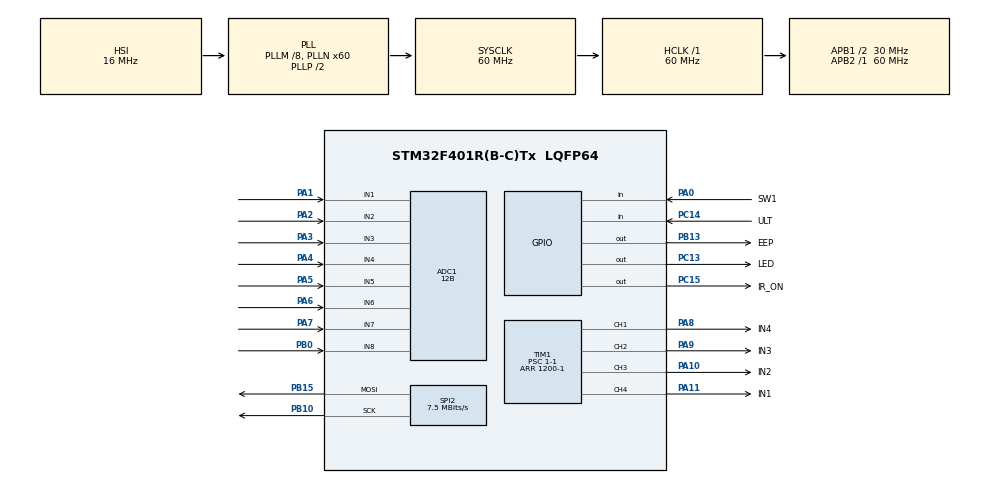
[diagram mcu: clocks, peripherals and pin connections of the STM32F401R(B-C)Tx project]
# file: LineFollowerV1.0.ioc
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ADC1.Channel-0\#ChannelRegularConversion=ADC_CHANNEL_1
ADC1.Channel-1\#ChannelRegularConversion=ADC_CHANNEL_2
ADC1.Channel-2\#ChannelRegularConversion=ADC_CHANNEL_3
ADC1.Channel-3\#ChannelRegularConversion=ADC_CHANNEL_4
ADC1.Channel-4\#ChannelRegularConversion=ADC_CHANNEL_5
ADC1.Channel-5\#ChannelRegularConversion=ADC_CHANNEL_6
ADC1.Channel-6\#ChannelRegularConversion=ADC_CHANNEL_7
ADC1.Channel-7\#ChannelRegularConversion=ADC_CHANNEL_8
ADC1.ClockPrescaler=ADC_CLOCK_SYNC_PCLK_DIV2
ADC1.DMAContinuousRequests=ENABLE
ADC1.DiscontinuousConvMode=ENABLE
ADC1.EOCSelection=ADC_EOC_SEQ_CONV
ADC1.NbrOfConversion=8
ADC1.NbrOfConversionFlag=1
ADC1.NbrOfDiscConversion=8
ADC1.Rank-0\#ChannelRegularConversion=1
ADC1.Rank-1\#ChannelRegularConversion=2
ADC1.Rank-2\#ChannelRegularConversion=3
ADC1.Rank-3\#ChannelRegularConversion=4
ADC1.Rank-4\#ChannelRegularConversion=5
ADC1.Rank-5\#ChannelRegularConversion=6
ADC1.Rank-6\#ChannelRegularConversion=7
ADC1.Rank-7\#ChannelRegularConversion=8
ADC1.Resolution=ADC_RESOLUTION_12B
ADC1.SamplingTime-0\#ChannelRegularConversion=ADC_SAMPLETIME_480CYCLES
ADC1.SamplingTime-1\#ChannelRegularConversion=ADC_SAMPLETIME_480CYCLES
ADC1.SamplingTime-2\#ChannelRegularConversion=ADC_SAMPLETIME_480CYCLES
ADC1.SamplingTime-3\#ChannelRegularConversion=ADC_SAMPLETIME_480CYCLES
ADC1.SamplingTime-4\#ChannelRegularConversion=ADC_SAMPLETIME_480CYCLES
ADC1.SamplingTime-5\#ChannelRegularConversion=ADC_SAMPLETIME_480CYCLES
ADC1.SamplingTime-6\#ChannelRegularConversion=ADC_SAMPLETIME_480CYCLES
ADC1.SamplingTime-7\#ChannelRegularConversion=ADC_SAMPLETIME_480CYCLES
ADC1.ScanConvMode=ENABLE
ADC1.master=1
Dma.ADC1.0.Direction=DMA_PERIPH_TO_MEMORY
Dma.ADC1.0.FIFOMode=DMA_FIFOMODE_DISABLE
Dma.ADC1.0.Instance=DMA2_Stream0
Dma.ADC1.0.MemDataAlignment=DMA_MDATAALIGN_HALFWORD
Dma.ADC1.0.MemInc=DMA_MINC_ENABLE
Dma.ADC1.0.Mode=DMA_CIRCULAR
Dma.ADC1.0.PeriphDataAlignment=DMA_PDATAALIGN_HALFWORD
Dma.ADC1.0.PeriphInc=DMA_PINC_DISABLE
Dma.ADC1.0.Priority=DMA_PRIORITY_MEDIUM
Dma.Request0=ADC1
Dma.Request1=SPI2_TX
Dma.SPI2_TX.1.Direction=DMA_MEMORY_TO_PERIPH
Dma.SPI2_TX.1.FIFOMode=DMA_FIFOMODE_DISABLE
Dma.SPI2_TX.1.Instance=DMA1_Stream4
Dma.SPI2_TX.1.MemDataAlignment=DMA_MDATAALIGN_BYTE
Dma.SPI2_TX.1.MemInc=DMA_MINC_ENABLE
Dma.SPI2_TX.1.Mode=DMA_NORMAL
Dma.SPI2_TX.1.PeriphDataAlignment=DMA_PDATAALIGN_BYTE
Dma.SPI2_TX.1.PeriphInc=DMA_PINC_DISABLE
Dma.SPI2_TX.1.Priority=DMA_PRIORITY_LOW
Mcu.Family=STM32F4
Mcu.Name=STM32F401R(B-C)Tx
Mcu.Package=LQFP64
NVIC.ADC_IRQn=true\:0\:0\:false\:false\:true\:true\:true\:true
NVIC.DMA1_Stream4_IRQn=true\:0\:0\:false\:false\:true\:false\:true\:true
NVIC.DMA2_Stream0_IRQn=true\:0\:0\:false\:false\:true\:false\:true\:true
NVIC.PriorityGroup=NVIC_PRIORITYGROUP_4
NVIC.SPI2_IRQn=true\:0\:0\:false\:false\:true\:true\:true\:true
PA0-WKUP.GPIO_Label=SW1
PA0-WKUP.GPIO_PuPd=GPIO_PULLUP
PA0-WKUP.Signal=GPIO_Input
PA1.Signal=ADCx_IN1
PA10.GPIO_Label=IN2
PA10.Signal=S_TIM1_CH3
PA11.GPIO_Label=IN1
PA11.Signal=S_TIM1_CH4
PA13.Mode=Trace_Asynchronous_SW
PA13.Signal=SYS_JTMS-SWDIO
PA14.Mode=Trace_Asynchronous_SW
PA14.Signal=SYS_JTCK-SWCLK
PA2.Signal=ADCx_IN2
PA3.Signal=ADCx_IN3
PA4.Signal=ADCx_IN4
PA5.Signal=ADCx_IN5
PA6.Signal=ADCx_IN6
PA7.Signal=ADCx_IN7
PA8.GPIO_Label=IN4
PA8.Signal=S_TIM1_CH1
PA9.GPIO_Label=IN3
PA9.Signal=S_TIM1_CH2
PB0.Signal=ADCx_IN8
PB10.Mode=TX_Only_Simplex_Unidirect_Master
PB10.Signal=SPI2_SCK
PB13.GPIO_Label=EEP
PB13.Signal=GPIO_Output
PB15.Mode=TX_Only_Simplex_Unidirect_Master
PB15.Signal=SPI2_MOSI
PB3.Mode=Trace_Asynchronous_SW
PB3.Signal=SYS_JTDO-SWO
PC13-ANTI_TAMP.GPIO_Label=LED
PC13-ANTI_TAMP.PinState=GPIO_PIN_SET
PC13-ANTI_TAMP.Signal=GPIO_Output
PC14-OSC32_IN.GPIO_Label=ULT
PC14-OSC32_IN.Signal=GPIO_Input
PC15-OSC32_OUT.GPIO_Label=IR_ON
PC15-OSC32_OUT.Signal=GPIO_Output
PH0\ -\ OSC_IN.Mode=HSE-External-Oscillator
PH0\ -\ OSC_IN.Signal=RCC_OSC_IN
PH1\ -\ OSC_OUT.Mode=HSE-External-Oscillator
PH1\ -\ OSC_OUT.Signal=RCC_OSC_OUT
ProjectManager.HeapSize=0x200
ProjectManager.StackSize=0x400
ProjectManager.TargetToolchain=STM32CubeIDE
RCC.48MHZClocksFreq_Value=30000000
RCC.AHBFreq_Value=60000000
RCC.APB1CLKDivider=RCC_HCLK_DIV2
RCC.APB1Freq_Value=30000000
RCC.APB1TimFreq_Value=60000000
RCC.APB2Freq_Value=60000000
RCC.APB2TimFreq_Value=60000000
RCC.CortexFreq_Value=60000000
RCC.HCLKFreq_Value=60000000
RCC.HSE_VALUE=25000000
RCC.HSI_VALUE=16000000
RCC.LSE_VALUE=32768
RCC.PLLM=8
RCC.PLLN=60
RCC.SYSCLKFreq_VALUE=60000000
RCC.SYSCLKSource=RCC_SYSCLKSOURCE_PLLCLK
RCC.VCOOutputFreq_Value=120000000
SH.ADCx_IN1.0=ADC1_IN1,IN1
SH.ADCx_IN2.0=ADC1_IN2,IN2
SH.ADCx_IN3.0=ADC1_IN3,IN3
SH.ADCx_IN4.0=ADC1_IN4,IN4
SH.ADCx_IN5.0=ADC1_IN5,IN5
SH.ADCx_IN6.0=ADC1_IN6,IN6
SH.ADCx_IN7.0=ADC1_IN7,IN7
SH.ADCx_IN8.0=ADC1_IN8,IN8
SH.S_TIM1_CH1.0=TIM1_CH1,PWM Generation1 CH1
SH.S_TIM1_CH2.0=TIM1_CH2,PWM Generation2 CH2
SH.S_TIM1_CH3.0=TIM1_CH3,PWM Generation3 CH3
SH.S_TIM1_CH4.0=TIM1_CH4,PWM Generation4 CH4
SPI2.BaudRatePrescaler=SPI_BAUDRATEPRESCALER_4
SPI2.CalculateBaudRate=7.5 MBits/s
SPI2.Direction=SPI_DIRECTION_2LINES
SPI2.Mode=SPI_MODE_MASTER
SPI2.VirtualType=VM_MASTER
TIM1.AutoReloadPreload=TIM_AUTORELOAD_PRELOAD_ENABLE
TIM1.Channel-PWM\ Generation1\ CH1=TIM_CHANNEL_1
TIM1.Channel-PWM\ Generation2\ CH2=TIM_CHANNEL_2
TIM1.Channel-PWM\ Generation3\ CH3=TIM_CHANNEL_3
TIM1.Channel-PWM\ Generation4\ CH4=TIM_CHANNEL_4
TIM1.Period=1200-1
TIM1.Prescaler=1-1
VP_TIM1_VS_ClockSourceINT.Mode=Internal
VP_TIM2_VS_ClockSourceINT.Mode=Internal
board=custom

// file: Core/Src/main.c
/* USER CODE BEGIN Header */
/**
 ******************************************************************************
 * @file           : main.c
 * @brief          : Main program body
 ******************************************************************************
 * @attention
 *
 * Copyright (c) 2025 STMicroelectronics.
 * All rights reserved.
 *
 * This software is licensed under terms that can be found in the LICENSE file
 * in the root directory of this software component.
 * If no LICENSE file comes with this software, it is provided AS-IS.
 *
 ******************************************************************************
 */
/* USER CODE END Header */
#include "main.h"

/* USER CODE BEGIN Includes */
#include "stm32f4xx_hal_flash.h"
#include "stm32f4xx_hal_flash_ex.h"
#include <string.h>
/* USER CODE END Includes */

/* USER CODE BEGIN PD */
#define TRUE 					1
#define FALSE 					0
/* DC MOTORS Private define */
#define SET_SPEED 				1050
#define MIN_SPEED 				700
#define MAX_SPEED 				1200
#define ROTATION_SPEED 			850
#define PID_KP 					30
#define PID_KD 					50
#define PID_ERROR_SETPOINT 		9
#define CONSTRAIN(x, min, max) ((x) < (min) ? (min) : ((x) > (max) ? (max) : (x)))
/* ADC Private define */
#define ADCREADTIMES 			2
#define SECTOR5ADDRESS 			0x08020000
/* NeoPixel Private define */
#define NUM_PIXELS 				8
#define PIXEL_BYTES 			3  // RGB
#define TOTAL_BYTES (NUM_PIXELS * PIXEL_BYTES * 8)
#define RESET_BYTES 			50  // Reset pulse (>50μs)
#define CODE0 					0b11100000
#define CODE1 					0b11111000

/* USER CODE END PD */

ADC_HandleTypeDef hadc1;
DMA_HandleTypeDef hdma_adc1;

SPI_HandleTypeDef hspi2;
DMA_HandleTypeDef hdma_spi2_tx;

TIM_HandleTypeDef htim1;
TIM_HandleTypeDef htim2;

/* USER CODE BEGIN PV */
/* States of State machine variable */
volatile typedef enum
{
	LINEFOLLOWER_STARTUP,
	LINEFOLLOWER_READY,
	LINEFOLLOWER_CALBRATION,
	LINEFOLLOWER_RUN
}LineFollowerState_t;
LineFollowerState_t LineFollowerState= LINEFOLLOWER_STARTUP;
/* IR sensor variables and ADC*/
volatile uint16_t IR_buff[4][8]={0};
volatile uint8_t IR_Readed = FALSE;
volatile uint8_t IR_DigValue = 0;
volatile uint8_t previousIR_DigValue = 0;
volatile uint8_t ADCReadTimes= ADCREADTIMES;
volatile uint8_t PID_Error_g8 =0;
volatile uint8_t lastPID_Error_g8 =0;
volatile uint8_t lostCounter =0;
/* User button variables */
volatile uint64_t pressTime=0;
/* PWM speed variables */
volatile int16_t speedCorrection = 0;

/* Neopixel variables */
volatile uint8_t NeoPixel_TXCplt = FALSE;
uint8_t spi_buffer[TOTAL_BYTES + RESET_BYTES]={0};
static const uint8_t blueColor5[24]=
		{CODE0,CODE0,CODE0,CODE0,CODE0,CODE0,CODE0,CODE0
		,CODE0,CODE0,CODE0,CODE0,CODE0,CODE0,CODE0,CODE0
		,CODE0,CODE0,CODE0,CODE0,CODE0,CODE0,CODE0,CODE1}; //0b0000001 1U
static const uint8_t redColor5[24]=
		{CODE0,CODE0,CODE0,CODE0,CODE0,CODE0,CODE0,CODE0
		,CODE0,CODE0,CODE0,CODE0,CODE0,CODE0,CODE0,CODE1
		,CODE0,CODE0,CODE0,CODE0,CODE0,CODE0,CODE0,CODE0}; //0b0000001 128U
static const uint8_t offColor[24]=
		{CODE0,CODE0,CODE0,CODE0,CODE0,CODE0,CODE0,CODE0
		,CODE0,CODE0,CODE0,CODE0,CODE0,CODE0,CODE0,CODE0
		,CODE0,CODE0,CODE0,CODE0,CODE0,CODE0,CODE0,CODE0}; //0b00000000
/* USER CODE END PV */

void SystemClock_Config(void);
static void MX_GPIO_Init(void);
static void MX_DMA_Init(void);
static void MX_ADC1_Init(void);
static void MX_SPI2_Init(void);
static void MX_TIM2_Init(void);
static void MX_TIM1_Init(void);
/* USER CODE BEGIN PFP */
static inline void Forwrad(uint16_t RSpeed,uint16_t LSpeed);
uint32_t Flash_Write_Data (uint32_t StartSectorAddress, volatile uint16_t *Data);
void NeoPixel_ShowBlue(uint8_t bluePixels);
void NeoPixel_ShowRed(uint8_t redPixels);
static inline void Right();
static inline void Left();
/* USER CODE END PFP */

/* USER CODE BEGIN 0 */
static inline void Forwrad(uint16_t RSpeed,uint16_t LSpeed)
{

		TIM1->CCR1 = 0;
		TIM1->CCR3 = 0;
		TIM1->CCR2 = RSpeed;
		TIM1->CCR4 = LSpeed;
}
static inline void Left()
{

		TIM1->CCR1 = 0;
		TIM1->CCR3 = ROTATION_SPEED;
		TIM1->CCR2 = MAX_SPEED;
		TIM1->CCR4 = 0;
}
static inline void Right()
{

		TIM1->CCR1 = ROTATION_SPEED;
		TIM1->CCR3 = 0;
		TIM1->CCR2 = 0;
		TIM1->CCR4 = MAX_SPEED;
}
void LineFollowerCalibration(void)
{
	uint16_t i=0;
	//Set maximum ADC value @min IR vector to get the minimum IR values
	IR_buff[2][0]= 4095;
	IR_buff[2][1]= 4095;
	IR_buff[2][2]= 4095;
	IR_buff[2][3]= 4095;
	IR_buff[2][4]= 4095;
	IR_buff[2][5]= 4095;
	IR_buff[2][6]= 4095;
	IR_buff[2][7]= 4095;

	//Start the calibration process to get the minimum and maximum ADC readings
	for(i =0 ;i<65535; i++)
	{
		IR_Readed = FALSE;
		HAL_ADC_Start_DMA(&hadc1, (uint32_t*)IR_buff, 8);
		while(IR_Readed != TRUE);
		//Get the maximum ADC values
		IR_buff[1][0]= (IR_buff[0][0]>IR_buff[1][0])? IR_buff[0][0] : IR_buff[1][0];
		IR_buff[1][1]= (IR_buff[0][1]>IR_buff[1][1])? IR_buff[0][1] : IR_buff[1][1];
		IR_buff[1][2]= (IR_buff[0][2]>IR_buff[1][2])? IR_buff[0][2] : IR_buff[1][2];
		IR_buff[1][3]= (IR_buff[0][3]>IR_buff[1][3])? IR_buff[0][3] : IR_buff[1][3];
		IR_buff[1][4]= (IR_buff[0][4]>IR_buff[1][4])? IR_buff[0][4] : IR_buff[1][4];
		IR_buff[1][5]= (IR_buff[0][5]>IR_buff[1][5])? IR_buff[0][5] : IR_buff[1][5];
		IR_buff[1][6]= (IR_buff[0][6]>IR_buff[1][6])? IR_buff[0][6] : IR_buff[1][6];
		IR_buff[1][7]= (IR_buff[0][7]>IR_buff[1][7])? IR_buff[0][7] : IR_buff[1][7];
		//Get the minimum ADC values
		IR_buff[2][0]= (IR_buff[0][0]<IR_buff[2][0])? IR_buff[0][0] : IR_buff[2][0];
		IR_buff[2][1]= (IR_buff[0][1]<IR_buff[2][1])? IR_buff[0][1] : IR_buff[2][1];
		IR_buff[2][2]= (IR_buff[0][2]<IR_buff[2][2])? IR_buff[0][2] : IR_buff[2][2];
		IR_buff[2][3]= (IR_buff[0][3]<IR_buff[2][3])? IR_buff[0][3] : IR_buff[2][3];
		IR_buff[2][4]= (IR_buff[0][4]<IR_buff[2][4])? IR_buff[0][4] : IR_buff[2][4];
		IR_buff[2][5]= (IR_buff[0][5]<IR_buff[2][5])? IR_buff[0][5] : IR_buff[2][5];
		IR_buff[2][6]= (IR_buff[0][6]<IR_buff[2][6])? IR_buff[0][6] : IR_buff[2][6];
		IR_buff[2][7]= (IR_buff[0][7]<IR_buff[2][7])? IR_buff[0][7] : IR_buff[2][7];
	}
	//Averaging the minimum & maximum ADC values to ge the threshold value of every IR sensor
	IR_buff[3][0]= IR_buff[2][0]+(IR_buff[1][0]-IR_buff[2][0])/2;
	IR_buff[3][1]= IR_buff[2][1]+(IR_buff[1][1]-IR_buff[2][1])/2;
	IR_buff[3][2]= IR_buff[2][2]+(IR_buff[1][2]-IR_buff[2][2])/2;
	IR_buff[3][3]= IR_buff[2][3]+(IR_buff[1][3]-IR_buff[2][3])/2;
	IR_buff[3][4]= IR_buff[2][4]+(IR_buff[1][4]-IR_buff[2][4])/2;
	IR_buff[3][5]= IR_buff[2][5]+(IR_buff[1][5]-IR_buff[2][5])/2;
	IR_buff[3][6]= IR_buff[2][6]+(IR_buff[1][6]-IR_buff[2][6])/2;
	IR_buff[3][7]= IR_buff[2][7]+(IR_buff[1][7]-IR_buff[2][7])/2;
	//Save the Calibration in flash at sector 5
	Flash_Write_Data(SECTOR5ADDRESS,&IR_buff[3][0]);
	Forwrad(0,0);
	////Turn on Blue LED at the end of calibration for 500ms
	HAL_GPIO_WritePin(LED_GPIO_Port, LED_Pin,0);
	HAL_Delay(500);
	HAL_GPIO_WritePin(LED_GPIO_Port, LED_Pin,1);
}

uint32_t Flash_Write_Data (uint32_t StartSectorAddress, volatile uint16_t *Data)
{

	int sofar=0;
	/* Unlock the Flash to enable the flash control register access *************/
	HAL_FLASH_Unlock();
	/* Erase the user Flash area */
	FLASH_Erase_Sector(5U, FLASH_VOLTAGE_RANGE_3);

	/* Program the user Flash area word by word
	    (area defined by FLASH_USER_START_ADDR and FLASH_USER_END_ADDR) ***********/
	while (sofar<8)
	{
		if (HAL_FLASH_Program(FLASH_TYPEPROGRAM_HALFWORD, StartSectorAddress, Data[sofar]) == HAL_OK)
		{
			StartSectorAddress += 2;  // use StartPageAddress += 2 for half word and 8 for double word
			sofar++;
		}
		else
		{
			/* Error occurred while writing data in Flash memory*/
			return HAL_FLASH_GetError ();
		}
	}

	/* Lock the Flash to disable the flash control register access (recommended
	     to protect the FLASH memory against possible unwanted operation) *********/
	HAL_FLASH_Lock();

	return 0;
}
void Flash_Read_Data (uint32_t StartSectorAddress,volatile uint16_t *RxBuf, uint16_t numberofwords)
{
	while (1)
	{
		*RxBuf = *(__IO uint16_t *)StartSectorAddress;
		StartSectorAddress += 2;
		RxBuf++;
		if (!(numberofwords--)) break;
	}
}
/* USER CODE END 0 */

int main(void)
{

  /* MCU Configuration--------------------------------------------------------*/

  /* Reset of all peripherals, Initializes the Flash interface and the Systick. */
  HAL_Init();

  /* Configure the system clock */
  SystemClock_Config();

  /* Initialize all configured peripherals */
  MX_GPIO_Init();
  MX_DMA_Init();
  MX_ADC1_Init();
  MX_SPI2_Init();
  MX_TIM2_Init();
  MX_TIM1_Init();
  /* USER CODE BEGIN 2 */
uint8_t i_l8=0;
uint8_t sum_l8=0;

  /* USER CODE END 2 */

  /* Infinite loop */
  /* USER CODE BEGIN WHILE */
	while (1)
	{
		switch(LineFollowerState)
		{
		case LINEFOLLOWER_STARTUP:
			//Turn off IR Sensor
			HAL_GPIO_WritePin(IR_ON_GPIO_Port, IR_ON_Pin,0);
			//Turn off Neopixel
			NeoPixel_ShowBlue(0);
			//Entering the Motor deriver in Low power mode
			HAL_GPIO_WritePin(EEP_GPIO_Port, EEP_Pin, 0);
			//Read stored calibration values from flash memory
			Flash_Read_Data (SECTOR5ADDRESS, &IR_buff[3][0], 8);
			//Waiting as Idle for SW1 pressed
			while(HAL_GPIO_ReadPin(SW1_GPIO_Port, SW1_Pin));
			HAL_Delay(500); //Delay for software switch debouncing
			//Move to Ready State
			LineFollowerState= LINEFOLLOWER_READY;
			//Turn on IR Sensor
			HAL_GPIO_WritePin(IR_ON_GPIO_Port, IR_ON_Pin,1);
			break;

		case  LINEFOLLOWER_READY:
			if(HAL_GPIO_ReadPin(SW1_GPIO_Port, SW1_Pin) == 0)
			{
				HAL_Delay(300);
				//Set Calibration time threshold to 3Sec
				pressTime =HAL_GetTick()+3000;
				//Waiting SW1 release
				while(HAL_GPIO_ReadPin(SW1_GPIO_Port, SW1_Pin) == 0)
				{
					//Make BLUE LED as Calibration time threshold indicator
					(pressTime < HAL_GetTick())? HAL_GPIO_WritePin(LED_GPIO_Port, LED_Pin,0) : NULL;
				}

				if(pressTime < HAL_GetTick())
				{
					LineFollowerState= LINEFOLLOWER_CALBRATION;
				}
				else
				{
					//Start PWM for DC Motors
					HAL_TIM_PWM_Start(&htim1, TIM_CHANNEL_1);
					HAL_TIM_PWM_Start(&htim1, TIM_CHANNEL_2);
					HAL_TIM_PWM_Start(&htim1, TIM_CHANNEL_3);
					HAL_TIM_PWM_Start(&htim1, TIM_CHANNEL_4);
					//Exit the Motor deriver from Low power mode
					HAL_GPIO_WritePin(EEP_GPIO_Port, EEP_Pin, 1);
					LineFollowerState= LINEFOLLOWER_RUN;
				}

			}
			else
			{
				//Show the Line position on Neopixel every 10mSec
				HAL_ADC_Start_DMA(&hadc1, (uint32_t*)IR_buff, 8);
				while(IR_Readed != TRUE);
				IR_DigValue = ((IR_buff[0][0]>IR_buff[3][0])<<7)|((IR_buff[0][1]>IR_buff[3][1])<<6)|((IR_buff[0][2]>IR_buff[3][2])<<5)|((IR_buff[0][3]>IR_buff[3][3])<<4)|((IR_buff[0][4]>IR_buff[3][4])<<3)|((IR_buff[0][5]>IR_buff[3][5])<<2)|((IR_buff[0][6]>IR_buff[3][6])<<1)|(IR_buff[0][7]>IR_buff[3][7]);
				(NeoPixel_TXCplt == FALSE)? (NeoPixel_ShowRed(IR_DigValue)): NULL;
				HAL_Delay(10);
			}
			break;

		case LINEFOLLOWER_CALBRATION:
			//Turn on Blue Light on Neopixel
			NeoPixel_ShowBlue(0b11111111);
			//Implement calibration process
			LineFollowerCalibration();
			//Turn off Blue Light
			NeoPixel_ShowBlue(0b00000000);
			//Return to Ready State
			LineFollowerState= LINEFOLLOWER_READY;
			break;

		case LINEFOLLOWER_RUN:
			//Start IR sensor Read using DMA
			HAL_ADC_Start_DMA(&hadc1, (uint32_t*)IR_buff, 8);
			//Waiting ADC finish
			while(IR_Readed != TRUE);
			//Convert the IR Sensor ADC readed value to digital values
			IR_DigValue = ((IR_buff[0][0]>IR_buff[3][0])<<7)|((IR_buff[0][1]>IR_buff[3][1])<<6)|((IR_buff[0][2]>IR_buff[3][2])<<5)|((IR_buff[0][3]>IR_buff[3][3])<<4)|((IR_buff[0][4]>IR_buff[3][4])<<3)|((IR_buff[0][5]>IR_buff[3][5])<<2)|((IR_buff[0][6]>IR_buff[3][6])<<1)|(IR_buff[0][7]>IR_buff[3][7]);
			//Validate the IR Sensor Value
			if((IR_DigValue!=0) && (IR_DigValue!=255) && (IR_DigValue == previousIR_DigValue) && ((IR_DigValue&(IR_DigValue+(IR_DigValue&-IR_DigValue)))==0))
			{
				//Waiting ADCReadTimes finish
				if(ADCReadTimes == 0)
				{
					switch(IR_DigValue)
					{
					case 0b00000001:
					case 0b00000011:
						//Rotate Left
						Left();
						lastPID_Error_g8 =2;
						break;
					case 0b10000000:
					case 0b11000000:
						//Rotate Right
						Right();
						lastPID_Error_g8 =16;
						break;
					default:
						for(i_l8=0,sum_l8=0 ; i_l8<8 ; i_l8++)
						{
							//Implement summation with weight 2
						    (IR_DigValue & 1<<i_l8)?(sum_l8+=(i_l8+1)*2): 0;
						}
						//Calculate PID Error value and correction value
						PID_Error_g8 = sum_l8/__builtin_popcount(IR_DigValue);
						speedCorrection= PID_KP * (PID_Error_g8-PID_ERROR_SETPOINT)+ PID_KD*(PID_Error_g8 - lastPID_Error_g8);
						//Go forward with calculated speed values and Speed constrains
						Forwrad(CONSTRAIN((SET_SPEED-speedCorrection),MIN_SPEED,MAX_SPEED),CONSTRAIN((SET_SPEED+speedCorrection),MIN_SPEED,MAX_SPEED));
					break;
					}
					//Show the Line position on Neopixel
					(NeoPixel_TXCplt == FALSE)? (NeoPixel_ShowRed(IR_DigValue)): NULL;
					//Reload the ADCReadTimes
					ADCReadTimes = ADCREADTIMES;
					//Save last PID error value
					lastPID_Error_g8 =PID_Error_g8;
				}
				//LOST
				else if(IR_DigValue==0)
				{
					if((lastPID_Error_g8 - PID_ERROR_SETPOINT>0))
					{
						//Rotate Right
						Right();
						lastPID_Error_g8 =16;
					}
					else if((lastPID_Error_g8 - PID_ERROR_SETPOINT<0))
					{
						//Rotate Left
						Left();
						lastPID_Error_g8 =2;
					}
				}
				else
				{
					ADCReadTimes--;
				}

			}
			else
			{
				previousIR_DigValue =IR_DigValue;
				ADCReadTimes = ADCREADTIMES;
			}

			HAL_Delay(1);
			break;
		}
    /* USER CODE END WHILE */

	}
}

void SystemClock_Config(void)
{
  RCC_OscInitTypeDef RCC_OscInitStruct = {0};
  RCC_ClkInitTypeDef RCC_ClkInitStruct = {0};

  /** Configure the main internal regulator output voltage
  */
  __HAL_RCC_PWR_CLK_ENABLE();
  __HAL_PWR_VOLTAGESCALING_CONFIG(PWR_REGULATOR_VOLTAGE_SCALE2);

  /** Initializes the RCC Oscillators according to the specified parameters
  * in the RCC_OscInitTypeDef structure.
  */
  RCC_OscInitStruct.OscillatorType = RCC_OSCILLATORTYPE_HSI;
  RCC_OscInitStruct.HSIState = RCC_HSI_ON;
  RCC_OscInitStruct.HSICalibrationValue = RCC_HSICALIBRATION_DEFAULT;
  RCC_OscInitStruct.PLL.PLLState = RCC_PLL_ON;
  RCC_OscInitStruct.PLL.PLLSource = RCC_PLLSOURCE_HSI;
  RCC_OscInitStruct.PLL.PLLM = 8;
  RCC_OscInitStruct.PLL.PLLN = 60;
  RCC_OscInitStruct.PLL.PLLP = RCC_PLLP_DIV2;
  RCC_OscInitStruct.PLL.PLLQ = 4;
  if (HAL_RCC_OscConfig(&RCC_OscInitStruct) != HAL_OK)
  {
    Error_Handler();
  }

  /** Initializes the CPU, AHB and APB buses clocks
  */
  RCC_ClkInitStruct.ClockType = RCC_CLOCKTYPE_HCLK|RCC_CLOCKTYPE_SYSCLK
                              |RCC_CLOCKTYPE_PCLK1|RCC_CLOCKTYPE_PCLK2;
  RCC_ClkInitStruct.SYSCLKSource = RCC_SYSCLKSOURCE_PLLCLK;
  RCC_ClkInitStruct.AHBCLKDivider = RCC_SYSCLK_DIV1;
  RCC_ClkInitStruct.APB1CLKDivider = RCC_HCLK_DIV2;
  RCC_ClkInitStruct.APB2CLKDivider = RCC_HCLK_DIV1;

  if (HAL_RCC_ClockConfig(&RCC_ClkInitStruct, FLASH_LATENCY_1) != HAL_OK)
  {
    Error_Handler();
  }
}

static void MX_ADC1_Init(void)
{

  ADC_ChannelConfTypeDef sConfig = {0};

  /** Configure the global features of the ADC (Clock, Resolution, Data Alignment and number of conversion)
  */
  hadc1.Instance = ADC1;
  hadc1.Init.ClockPrescaler = ADC_CLOCK_SYNC_PCLK_DIV2;
  hadc1.Init.Resolution = ADC_RESOLUTION_12B;
  hadc1.Init.ScanConvMode = ENABLE;
  hadc1.Init.ContinuousConvMode = DISABLE;
  hadc1.Init.DiscontinuousConvMode = ENABLE;
  hadc1.Init.NbrOfDiscConversion = 8;
  hadc1.Init.ExternalTrigConvEdge = ADC_EXTERNALTRIGCONVEDGE_NONE;
  hadc1.Init.ExternalTrigConv = ADC_SOFTWARE_START;
  hadc1.Init.DataAlign = ADC_DATAALIGN_RIGHT;
  hadc1.Init.NbrOfConversion = 8;
  hadc1.Init.DMAContinuousRequests = ENABLE;
  hadc1.Init.EOCSelection = ADC_EOC_SEQ_CONV;
  if (HAL_ADC_Init(&hadc1) != HAL_OK)
  {
    Error_Handler();
  }

  /** Configure for the selected ADC regular channel its corresponding rank in the sequencer and its sample time.
  */
  sConfig.Channel = ADC_CHANNEL_1;
  sConfig.Rank = 1;
  sConfig.SamplingTime = ADC_SAMPLETIME_480CYCLES;
  if (HAL_ADC_ConfigChannel(&hadc1, &sConfig) != HAL_OK)
  {
    Error_Handler();
  }

  /** Configure for the selected ADC regular channel its corresponding rank in the sequencer and its sample time.
  */
  sConfig.Channel = ADC_CHANNEL_2;
  sConfig.Rank = 2;
  if (HAL_ADC_ConfigChannel(&hadc1, &sConfig) != HAL_OK)
  {
    Error_Handler();
  }

  /** Configure for the selected ADC regular channel its corresponding rank in the sequencer and its sample time.
  */
  sConfig.Channel = ADC_CHANNEL_3;
  sConfig.Rank = 3;
  if (HAL_ADC_ConfigChannel(&hadc1, &sConfig) != HAL_OK)
  {
    Error_Handler();
  }

  /** Configure for the selected ADC regular channel its corresponding rank in the sequencer and its sample time.
  */
  sConfig.Channel = ADC_CHANNEL_4;
  sConfig.Rank = 4;
  if (HAL_ADC_ConfigChannel(&hadc1, &sConfig) != HAL_OK)
  {
    Error_Handler();
  }

  /** Configure for the selected ADC regular channel its corresponding rank in the sequencer and its sample time.
  */
  sConfig.Channel = ADC_CHANNEL_5;
  sConfig.Rank = 5;
  if (HAL_ADC_ConfigChannel(&hadc1, &sConfig) != HAL_OK)
  {
    Error_Handler();
  }

  /** Configure for the selected ADC regular channel its corresponding rank in the sequencer and its sample time.
  */
  sConfig.Channel = ADC_CHANNEL_6;
  sConfig.Rank = 6;
  if (HAL_ADC_ConfigChannel(&hadc1, &sConfig) != HAL_OK)
  {
    Error_Handler();
  }

  /** Configure for the selected ADC regular channel its corresponding rank in the sequencer and its sample time.
  */
  sConfig.Channel = ADC_CHANNEL_7;
  sConfig.Rank = 7;
  if (HAL_ADC_ConfigChannel(&hadc1, &sConfig) != HAL_OK)
  {
    Error_Handler();
  }

  /** Configure for the selected ADC regular channel its corresponding rank in the sequencer and its sample time.
  */
  sConfig.Channel = ADC_CHANNEL_8;
  sConfig.Rank = 8;
  if (HAL_ADC_ConfigChannel(&hadc1, &sConfig) != HAL_OK)
  {
    Error_Handler();
  }

}

static void MX_SPI2_Init(void)
{

  /* SPI2 parameter configuration*/
  hspi2.Instance = SPI2;
  hspi2.Init.Mode = SPI_MODE_MASTER;
  hspi2.Init.Direction = SPI_DIRECTION_2LINES;
  hspi2.Init.DataSize = SPI_DATASIZE_8BIT;
  hspi2.Init.CLKPolarity = SPI_POLARITY_LOW;
  hspi2.Init.CLKPhase = SPI_PHASE_1EDGE;
  hspi2.Init.NSS = SPI_NSS_SOFT;
  hspi2.Init.BaudRatePrescaler = SPI_BAUDRATEPRESCALER_4;
  hspi2.Init.FirstBit = SPI_FIRSTBIT_MSB;
  hspi2.Init.TIMode = SPI_TIMODE_DISABLE;
  hspi2.Init.CRCCalculation = SPI_CRCCALCULATION_DISABLE;
  hspi2.Init.CRCPolynomial = 10;
  if (HAL_SPI_Init(&hspi2) != HAL_OK)
  {
    Error_Handler();
  }

}

static void MX_TIM1_Init(void)
{

  TIM_ClockConfigTypeDef sClockSourceConfig = {0};
  TIM_MasterConfigTypeDef sMasterConfig = {0};
  TIM_OC_InitTypeDef sConfigOC = {0};
  TIM_BreakDeadTimeConfigTypeDef sBreakDeadTimeConfig = {0};

  htim1.Instance = TIM1;
  htim1.Init.Prescaler = 1-1;
  htim1.Init.CounterMode = TIM_COUNTERMODE_UP;
  htim1.Init.Period = 1200-1;
  htim1.Init.ClockDivision = TIM_CLOCKDIVISION_DIV1;
  htim1.Init.RepetitionCounter = 0;
  htim1.Init.AutoReloadPreload = TIM_AUTORELOAD_PRELOAD_ENABLE;
  if (HAL_TIM_Base_Init(&htim1) != HAL_OK)
  {
    Error_Handler();
  }
  sClockSourceConfig.ClockSource = TIM_CLOCKSOURCE_INTERNAL;
  if (HAL_TIM_ConfigClockSource(&htim1, &sClockSourceConfig) != HAL_OK)
  {
    Error_Handler();
  }
  if (HAL_TIM_PWM_Init(&htim1) != HAL_OK)
  {
    Error_Handler();
  }
  sMasterConfig.MasterOutputTrigger = TIM_TRGO_RESET;
  sMasterConfig.MasterSlaveMode = TIM_MASTERSLAVEMODE_DISABLE;
  if (HAL_TIMEx_MasterConfigSynchronization(&htim1, &sMasterConfig) != HAL_OK)
  {
    Error_Handler();
  }
  sConfigOC.OCMode = TIM_OCMODE_PWM1;
  sConfigOC.Pulse = 0;
  sConfigOC.OCPolarity = TIM_OCPOLARITY_HIGH;
  sConfigOC.OCNPolarity = TIM_OCNPOLARITY_HIGH;
  sConfigOC.OCFastMode = TIM_OCFAST_DISABLE;
  sConfigOC.OCIdleState = TIM_OCIDLESTATE_RESET;
  sConfigOC.OCNIdleState = TIM_OCNIDLESTATE_RESET;
  if (HAL_TIM_PWM_ConfigChannel(&htim1, &sConfigOC, TIM_CHANNEL_1) != HAL_OK)
  {
    Error_Handler();
  }
  if (HAL_TIM_PWM_ConfigChannel(&htim1, &sConfigOC, TIM_CHANNEL_2) != HAL_OK)
  {
    Error_Handler();
  }
  if (HAL_TIM_PWM_ConfigChannel(&htim1, &sConfigOC, TIM_CHANNEL_3) != HAL_OK)
  {
    Error_Handler();
  }
  if (HAL_TIM_PWM_ConfigChannel(&htim1, &sConfigOC, TIM_CHANNEL_4) != HAL_OK)
  {
    Error_Handler();
  }
  sBreakDeadTimeConfig.OffStateRunMode = TIM_OSSR_DISABLE;
  sBreakDeadTimeConfig.OffStateIDLEMode = TIM_OSSI_DISABLE;
  sBreakDeadTimeConfig.LockLevel = TIM_LOCKLEVEL_OFF;
  sBreakDeadTimeConfig.DeadTime = 0;
  sBreakDeadTimeConfig.BreakState = TIM_BREAK_DISABLE;
  sBreakDeadTimeConfig.BreakPolarity = TIM_BREAKPOLARITY_HIGH;
  sBreakDeadTimeConfig.AutomaticOutput = TIM_AUTOMATICOUTPUT_DISABLE;
  if (HAL_TIMEx_ConfigBreakDeadTime(&htim1, &sBreakDeadTimeConfig) != HAL_OK)
  {
    Error_Handler();
  }
  HAL_TIM_MspPostInit(&htim1);

}

static void MX_TIM2_Init(void)
{

  TIM_ClockConfigTypeDef sClockSourceConfig = {0};
  TIM_MasterConfigTypeDef sMasterConfig = {0};

  htim2.Instance = TIM2;
  htim2.Init.Prescaler = 0;
  htim2.Init.CounterMode = TIM_COUNTERMODE_UP;
  htim2.Init.Period = 4294967295;
  htim2.Init.ClockDivision = TIM_CLOCKDIVISION_DIV1;
  htim2.Init.AutoReloadPreload = TIM_AUTORELOAD_PRELOAD_DISABLE;
  if (HAL_TIM_Base_Init(&htim2) != HAL_OK)
  {
    Error_Handler();
  }
  sClockSourceConfig.ClockSource = TIM_CLOCKSOURCE_INTERNAL;
  if (HAL_TIM_ConfigClockSource(&htim2, &sClockSourceConfig) != HAL_OK)
  {
    Error_Handler();
  }
  sMasterConfig.MasterOutputTrigger = TIM_TRGO_RESET;
  sMasterConfig.MasterSlaveMode = TIM_MASTERSLAVEMODE_DISABLE;
  if (HAL_TIMEx_MasterConfigSynchronization(&htim2, &sMasterConfig) != HAL_OK)
  {
    Error_Handler();
  }

}

static void MX_DMA_Init(void)
{

  /* DMA controller clock enable */
  __HAL_RCC_DMA2_CLK_ENABLE();
  __HAL_RCC_DMA1_CLK_ENABLE();

  /* DMA interrupt init */
  /* DMA1_Stream4_IRQn interrupt configuration */
  HAL_NVIC_SetPriority(DMA1_Stream4_IRQn, 0, 0);
  HAL_NVIC_EnableIRQ(DMA1_Stream4_IRQn);
  /* DMA2_Stream0_IRQn interrupt configuration */
  HAL_NVIC_SetPriority(DMA2_Stream0_IRQn, 0, 0);
  HAL_NVIC_EnableIRQ(DMA2_Stream0_IRQn);

}

static void MX_GPIO_Init(void)
{
  GPIO_InitTypeDef GPIO_InitStruct = {0};

  /* GPIO Ports Clock Enable */
  __HAL_RCC_GPIOC_CLK_ENABLE();
  __HAL_RCC_GPIOH_CLK_ENABLE();
  __HAL_RCC_GPIOA_CLK_ENABLE();
  __HAL_RCC_GPIOB_CLK_ENABLE();

  /*Configure GPIO pin Output Level */
  HAL_GPIO_WritePin(LED_GPIO_Port, LED_Pin, GPIO_PIN_SET);

  /*Configure GPIO pin Output Level */
  HAL_GPIO_WritePin(IR_ON_GPIO_Port, IR_ON_Pin, GPIO_PIN_RESET);

  /*Configure GPIO pin Output Level */
  HAL_GPIO_WritePin(EEP_GPIO_Port, EEP_Pin, GPIO_PIN_SET);

  /*Configure GPIO pins : LED_Pin IR_ON_Pin */
  GPIO_InitStruct.Pin = LED_Pin|IR_ON_Pin;
  GPIO_InitStruct.Mode = GPIO_MODE_OUTPUT_PP;
  GPIO_InitStruct.Pull = GPIO_NOPULL;
  GPIO_InitStruct.Speed = GPIO_SPEED_FREQ_LOW;
  HAL_GPIO_Init(GPIOC, &GPIO_InitStruct);

  /*Configure GPIO pin : SW1_Pin */
  GPIO_InitStruct.Pin = SW1_Pin;
  GPIO_InitStruct.Mode = GPIO_MODE_INPUT;
  GPIO_InitStruct.Pull = GPIO_PULLUP;
  HAL_GPIO_Init(SW1_GPIO_Port, &GPIO_InitStruct);

  /*Configure GPIO pin : EEP_Pin */
  GPIO_InitStruct.Pin = EEP_Pin;
  GPIO_InitStruct.Mode = GPIO_MODE_OUTPUT_PP;
  GPIO_InitStruct.Pull = GPIO_NOPULL;
  GPIO_InitStruct.Speed = GPIO_SPEED_FREQ_LOW;
  HAL_GPIO_Init(EEP_GPIO_Port, &GPIO_InitStruct);

  /*Configure GPIO pin : ULT_Pin */
  GPIO_InitStruct.Pin = ULT_Pin;
  GPIO_InitStruct.Mode = GPIO_MODE_INPUT;
  GPIO_InitStruct.Pull = GPIO_NOPULL;
  HAL_GPIO_Init(ULT_GPIO_Port, &GPIO_InitStruct);

}

/* USER CODE BEGIN 4 */

void NeoPixel_ShowBlue(uint8_t bluePixels)
{
	uint16_t buffer_idx = 0;

	// Convert pixel data to SPI timing patterns
	for (int pixel = 0; pixel < NUM_PIXELS; pixel++) {
		if (bluePixels & (1 << pixel)) {
			// Turn on pixel
			memcpy(&spi_buffer[buffer_idx], blueColor5, 24);
			buffer_idx+=24;
		} else {
			// Turn off pixel
			memcpy(&spi_buffer[buffer_idx], offColor, 24);
			buffer_idx+=24;
		}
	}

	// Add reset pulse (low for >50μs)
	for (int i = 0; i < RESET_BYTES; i++) {
		spi_buffer[buffer_idx++] = 0x00;
	}

	// Transmit via SPI with DMA
	NeoPixel_TXCplt = TRUE;
	HAL_SPI_Transmit_DMA(&hspi2, spi_buffer, buffer_idx);
}
void NeoPixel_ShowRed(uint8_t redPixels)
{
	uint16_t buffer_idx = 0;

	// Convert pixel data to SPI timing patterns
	for (int pixel = 0; pixel < NUM_PIXELS; pixel++) {
		if (redPixels & (1 << pixel)) {
			// Turn on pixel
			memcpy(&spi_buffer[buffer_idx], redColor5, 24);
			buffer_idx+=24;
		} else {
			// Turn off pixel
			memcpy(&spi_buffer[buffer_idx], offColor, 24);
			buffer_idx+=24;
		}
	}

	// Add reset pulse (low for >50μs)
	for (int i = 0; i < RESET_BYTES; i++) {
		spi_buffer[buffer_idx++] = 0x00;
	}

	// Transmit via SPI with DMA
	NeoPixel_TXCplt = TRUE;
	HAL_SPI_Transmit_DMA(&hspi2, spi_buffer, buffer_idx);
}

void HAL_ADC_ConvCpltCallback(ADC_HandleTypeDef *hadc)
{
	__NOP();
	//HAL_ADC_Start_DMA(&hadc1, (uint32_t*)IR_buff, 8);
	IR_Readed = TRUE;
}

void HAL_SPI_TxCpltCallback(SPI_HandleTypeDef *hspi)
{
	__NOP();
	NeoPixel_TXCplt = FALSE;
}
/* USER CODE END 4 */

void Error_Handler(void)
{
	__disable_irq();
	while (1)
	{
	}
}
